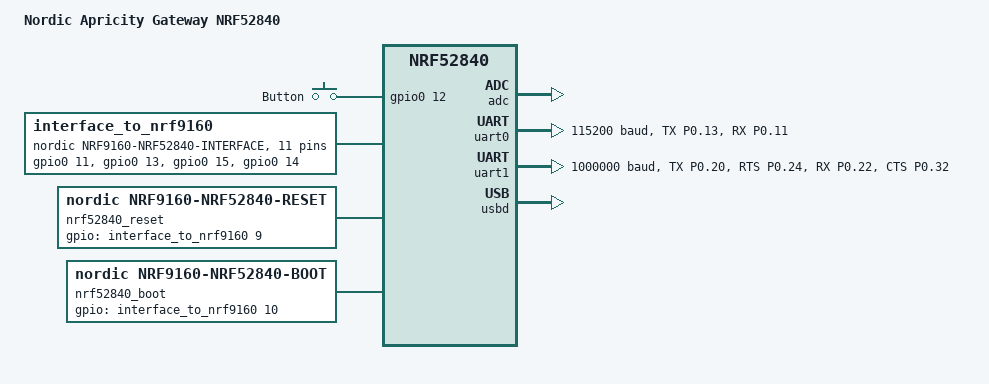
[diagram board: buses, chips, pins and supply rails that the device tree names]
/*
 * Copyright (c) 2020 Nordic Semiconductor ASA
 *
 * SPDX-License-Identifier: LicenseRef-BSD-5-Clause-Nordic
 */

/dts-v1/;
#include <nordic/nrf52840_qiaa.dtsi>

/ {
	model = "Nordic Apricity Gateway NRF52840";
	compatible = "apricity,apricity-gateway-nrf52840";

	chosen {
		zephyr,console = &uart0;
		zephyr,flash = &flash0;
		zephyr,sram = &sram0;
		zephyr,uart-mcumgr = &uart0;
		zephyr,bt-mon-uart = &uart0;
		zephyr,shell-uart = &uart0;
		zephyr,bt-c2h-uart = &uart1;
	};

	buttons {
		compatible = "gpio-keys";

		button0: button_0 {
			gpios = <&gpio0 12 0>;
			label = "Button";
		};
	};

	interface_to_nrf9160: gpio-interface {
		compatible = "nordic,nrf9160-nrf52840-interface";
		#gpio-cells = <2>;
		gpio-map-mask = <0xf 0>;
		gpio-map-pass-thru = <0 0xffffffff>;
		gpio-map = <0 0 &gpio0 11 0>,
			  <1 0 &gpio0 13 0>,
			  <2 0 &gpio0 15 0>,
			  <3 0 &gpio0 14 0>,
			  <4 0 &gpio0 20 0>,
			  <5 0 &gpio0 22 0>,
			  <6 0 &gpio1 7 0>, /* COEX0 */
			  <7 0 &gpio1 4 0>, /* COEX1 */
			  <8 0 &gpio1 1 0>, /* COEX2 */
			  <9 0 &gpio1 2 0>,
			  <10 0 &gpio0 12 0>;
	};

	nrf52840_reset: gpio-reset {
		compatible = "nordic,nrf9160-nrf52840-reset";
		status = "okay";
		/*
		* This line is specified as active high for compatibility
		* with the previously used Kconfig-based configuration.
		*/
		gpios = <&interface_to_nrf9160 9 GPIO_ACTIVE_HIGH>;
	};

	nrf52840_boot: gpio-boot {
		compatible = "nordic,nrf9160-nrf52840-boot";
		status = "okay";
		gpios = <&interface_to_nrf9160 10 GPIO_PULL_UP>;
	};

	aliases {
		mcuboot-button0 = &button0;
	};
};

&adc {
	status = "okay";
};

&gpiote {
	status = "okay";
};

&gpio0 {
	status = "okay";
};

&gpio1 {
	status = "okay";
};

&pinctrl {
	uart0_default_alt: uart0_default_alt {
		group1 {
			psels = <NRF_PSEL(UART_TX, 0, 13)>,
				<NRF_PSEL(UART_RX, 0, 11)>;
		};
	};

	uart0_sleep_alt: uart0_sleep_alt {
		group1 {
			psels = <NRF_PSEL(UART_TX, 0, 13)>,
				<NRF_PSEL(UART_RX, 0, 11)>;
			low-power-enable;
		};
	};

	uart1_default_alt: uart1_default_alt {
		group1 {
			psels = <NRF_PSEL(UART_TX, 0, 20)>,
				<NRF_PSEL(UART_RTS, 0, 24)>;
		};
		group2 {
			psels = <NRF_PSEL(UART_RX, 0, 22)>,
				<NRF_PSEL(UART_CTS, 0, 32)>;
			bias-pull-up;
		};
	};

	uart1_sleep_alt: uart1_sleep_alt {
		group1 {
			psels = <NRF_PSEL(UART_TX, 0, 20)>,
				<NRF_PSEL(UART_RTS, 0, 24)>;
			low-power-enable;
		};
		group2 {
			psels = <NRF_PSEL(UART_RX, 0, 22)>,
				<NRF_PSEL(UART_CTS, 0, 32)>;
			bias-pull-up;
			low-power-enable;
		};
	};

};

&uart0 {
	compatible = "nordic,nrf-uarte";
	current-speed = <115200>;
	status = "okay";
	pinctrl-0 = <&uart0_default_alt>;
	pinctrl-1 = <&uart0_sleep_alt>;
	pinctrl-names = "default", "sleep";
};

&uart1 {
	compatible = "nordic,nrf-uarte";
	current-speed = <1000000>;
	status = "okay";
	pinctrl-0 = <&uart1_default_alt>;
	pinctrl-1 = <&uart1_sleep_alt>;
	pinctrl-names = "default", "sleep";
	hw-flow-control;
};

zephyr_udc0: &usbd {
	compatible = "nordic,nrf-usbd";
	status = "okay";

	cdc_acm_uart: cdc_acm_uart {
		compatible = "zephyr,cdc-acm-uart";
	};
};

&flash0 {
	partitions {
		compatible = "fixed-partitions";
		#address-cells = <1>;
		#size-cells = <1>;

		/* The size of this partition ensures that MCUBoot can be built
		 * with an RTT console, CDC ACM support, and w/o optimizations.
		 */
		boot_partition: partition@0 {
			label = "mcuboot";
			reg = <0x000000000 0x00012000>;
		};
		slot0_partition: partition@12000 {
			label = "image-0";
			reg = <0x00012000 0x000069000>;
		};
		slot1_partition: partition@7b000 {
			label = "image-1";
			reg = <0x0007b000 0x000069000>;
		};
		scratch_partition: partition@e4000 {
			label = "image-scratch";
			reg = <0x000e4000 0x00018000>;
		};
		storage_partition: partition@fc000 {
			label = "storage";
			reg = <0x000fc000 0x00004000>;
		};
	};
};
